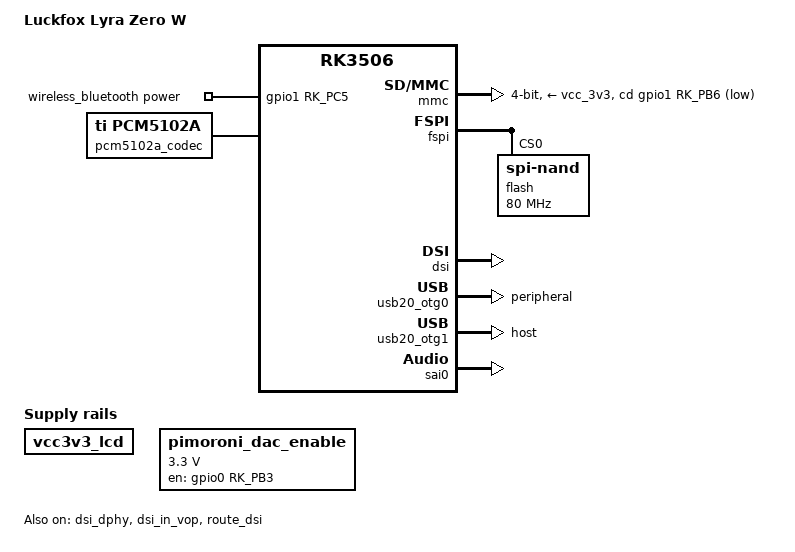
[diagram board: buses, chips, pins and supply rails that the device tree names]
// SPDX-License-Identifier: (GPL-2.0+ OR MIT)
/*
 * Copyright (c) 2024 Rockchip Electronics Co., Ltd.
 */

/dts-v1/;

#include "rk3506-luckfox-lyra-ultra.dtsi"

/ {
	model = "Luckfox Lyra Zero W";
	compatible = "rockchip,rk3506g-demo-display-control", "rockchip,rk3506";

	chosen {
		bootargs = "earlycon=uart8250,mmio32,0xff0a0000 console=tty1 console=ttyFIQ0 root=/dev/mmcblk0p3 rootfstype=ext4 rootwait snd_aloop.index=7 snd_aloop.use_raw_jiffies=1";
	};

	wireless_bluetooth: wireless-bluetooth {
		compatible = "bluetooth-platdata";
		BT,power_gpio = <&gpio1 RK_PC5 GPIO_ACTIVE_HIGH>;
		status = "okay";
	};

	vcc3v3_lcd: vcc3v3-lcd {
		status = "okay";
		compatible = "regulator-fixed";
		pinctrl-names = "default";
		pinctrl-0 = <&lcd_pwren_h>;
		regulator-name = "vcc3v3_lcd";
		regulator-always-on;
	};

	/* Pimoroni Audio DAC SHIM Enable Regulator */
	pimoroni_dac_enable: pimoroni-dac-enable {
		compatible = "regulator-fixed";
		regulator-name = "pimoroni-dac-enable";
		regulator-min-microvolt = <3300000>;
		regulator-max-microvolt = <3300000>;
		gpio = <&gpio0 RK_PB3 GPIO_ACTIVE_HIGH>; /* rm_io11 = GPIO0_B3 */
		enable-active-high;
		regulator-always-on;
		pinctrl-names = "default";
		pinctrl-0 = <&pimoroni_enable_pin>;
		startup-delay-us = <10000>;
	};

	/* PCM5100A DAC Codec (Pimoroni compatible with PCM5102A driver) */
	pcm5102a_codec: pcm5102a-codec {
		#sound-dai-cells = <0>;
		compatible = "ti,pcm5102a";
		status = "okay";
	};

	pcm5102a_sound: pcm5102a-sound {
		status = "okay";
		compatible = "simple-audio-card";
		simple-audio-card,name = "Pimoroni-Audio-DAC";
		simple-audio-card,format = "i2s";
		simple-audio-card,mclk-fs = <256>;
		simple-audio-card,bitclock-master = <&sound_cpu>;
		simple-audio-card,frame-master = <&sound_cpu>;
		
		sound_cpu: simple-audio-card,cpu {
			sound-dai = <&sai0>;
			system-clock-frequency = <12288000>;
			dai-tdm-slot-num = <2>;
			dai-tdm-slot-width = <32>;
		};
		
		sound_codec: simple-audio-card,codec {
			sound-dai = <&pcm5102a_codec>;
		};
	};
};

/**********media**********/
&mmc {
	/* For SDMMC */
	max-frequency = <52000000>;
	bus-width = <4>;
	no-sdio;
	no-mmc;
	cap-mmc-highspeed;
	cap-sd-highspeed;
	cd-gpios = <&gpio1 RK_PB6 GPIO_ACTIVE_LOW>; //det
	disable-wp;
	//sd-uhs-sdr104;
	pinctrl-names = "default";
	pinctrl-0 = <&sdmmc_clk_pins &sdmmc_cmd_pins &sdmmc_bus4_pins &sdmmc_det &sdmmc_pwren>;
	vqmmc-supply = <&vcc_3v3>;
	vmmc-supply = <&vcc_3v3>;
	status = "okay";
};

&fspi {
	status = "okay";

	flash@0 {
		compatible = "spi-nand";
		reg = <0>;
		spi-max-frequency = <80000000>;
		spi-rx-bus-width = <4>;
		spi-tx-bus-width = <1>;
	};
};

/**********display**********/
&cma {
	size = <0x2000000>;
};

&dsi {
	status = "okay";
};

&dsi_dphy {
	status = "okay";
};

&dsi_in_vop {
	status = "okay";
};

&route_dsi {
	status = "okay";
};

&dsi_panel {
	power-supply = <&vcc3v3_lcd>;
};

/**********ethernet**********/
&gmac1 {
	status = "disabled";
};

/**********usb**********/
&usb20_otg0 {
	dr_mode = "peripheral";
	status = "okay";
};

&usb20_otg1 {
	dr_mode = "host";
	status = "okay";
};

/**********audio**********/
&sai0 {
	#sound-dai-cells = <0>;
	status = "okay";
	pinctrl-names = "default";
	pinctrl-0 = <&rm_io14_sai0_sclk
		     &rm_io16_sai0_lrck
		     &rm_io18_sai0_sdo>;
	assigned-clocks = <&cru MCLK_SAI0>;
	assigned-clock-rates = <12288000>;
	rockchip,clk-trcm = <1>;
	dai-tdm-slot-num = <2>;
	dai-tdm-slot-width = <32>;
};

/**********pinctrl**********/
&pinctrl {
	lcd {
		lcd_pwren_h: lcd-pwren-h {
			rockchip,pins = <1 RK_PC4 RK_FUNC_GPIO &pcfg_pull_up>;
		};
	};

	pimoroni_dac {
		pimoroni_enable_pin: pimoroni-enable-pin {
			rockchip,pins = <0 RK_PB3 RK_FUNC_GPIO &pcfg_pull_up>;
		};
	};
};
